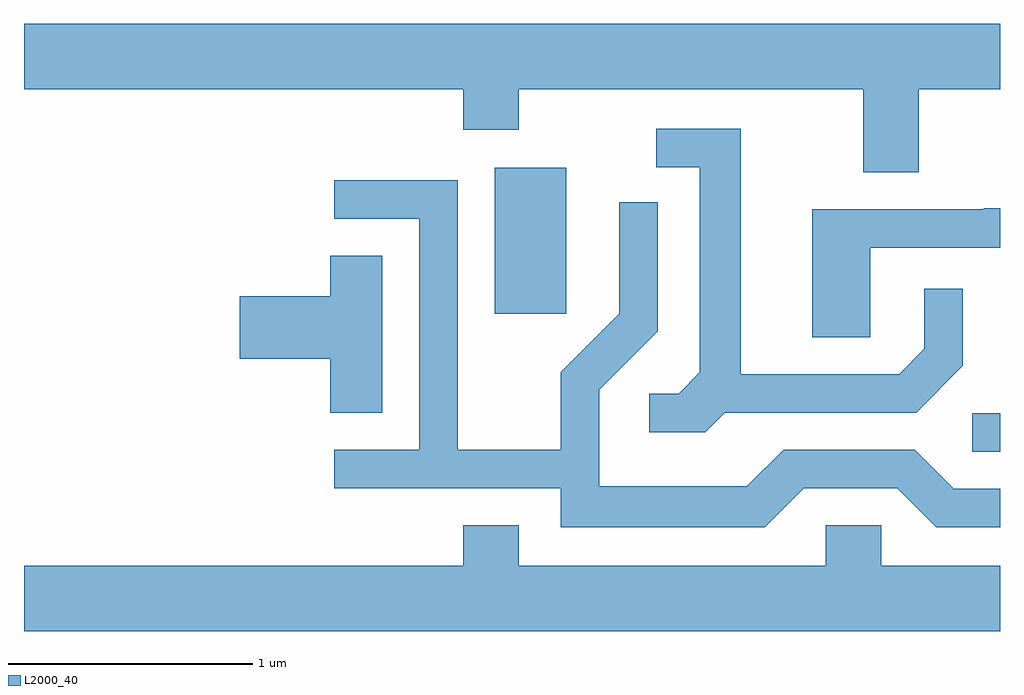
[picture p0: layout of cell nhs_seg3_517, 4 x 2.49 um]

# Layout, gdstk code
import gdstk
lib = gdstk.Library(unit=1e-6, precision=1e-09)
def R(c, l, rs):  # rectangles x0, y0, x1, y1
    for r in rs: c.add(gdstk.rectangle(r[:2], r[2:], *l))
def P(c, l, *ps):  # polygons
    for p in ps: c.add(gdstk.Polygon(p, *l))
L2000_40 = (2000, 40)

nhs_seg3_517 = lib.new_cell('nhs_seg3_517')
R(nhs_seg3_517, L2000_40, [(203.498,1200.011,203.611,1200.169), (201.541,1200.576,201.834,1201.174)])
P(nhs_seg3_517, L2000_40, [(203.279,1201.496),(203.611,1201.496),(203.611,1201.764),(199.611,1201.764),(199.611,1201.496),(201.411,1201.496),(201.411,1201.331),(201.639,1201.331),(201.639,1201.496),(203.051,1201.496),(203.051,1201.156),(203.279,1201.156)],
  [(202.482,1200.171),(203.267,1200.171),(203.459,1200.364),(203.459,1200.678),(203.301,1200.678),(203.301,1200.432),(203.199,1200.329),(202.549,1200.329),(202.549,1201.334),(202.203,1201.334),(202.203,1201.176),(202.381,1201.176),(202.381,1200.337),(202.294,1200.249),(202.173,1200.249),(202.173,1200.091),(202.402,1200.091)],
  [(202.807,1199.861),(203.189,1199.861),(203.349,1199.701),(203.611,1199.701),(203.611,1199.859),(203.422,1199.859),(203.262,1200.019),(202.724,1200.019),(202.574,1199.869),(201.969,1199.869),(201.969,1200.264),(202.209,1200.504),(202.209,1201.033),(202.051,1201.033),(202.051,1200.577),(201.811,1200.337),(201.811,1200.019),(201.389,1200.019),(201.389,1201.124),(200.883,1201.124),(200.883,1200.966),(201.231,1200.966),(201.231,1200.019),(200.883,1200.019),(200.883,1199.861),(201.811,1199.861),(201.811,1199.701),(202.647,1199.701)],
  [(203.079,1200.846),(203.611,1200.846),(203.611,1201.009),(203.545,1201.009),(203.545,1201.004),(202.841,1201.004),(202.841,1200.481),(203.079,1200.481)],
  [(201.079,1200.814),(200.866,1200.814),(200.866,1200.649),(200.496,1200.649),(200.496,1200.391),(200.866,1200.391),(200.866,1200.171),(201.079,1200.171)],
  [(203.611,1199.544),(203.124,1199.544),(203.124,1199.709),(202.896,1199.709),(202.896,1199.544),(201.639,1199.544),(201.639,1199.709),(201.411,1199.709),(201.411,1199.544),(199.611,1199.544),(199.611,1199.276),(203.611,1199.276)])

lib.write_gds('nhs_seg3_517.gds')
